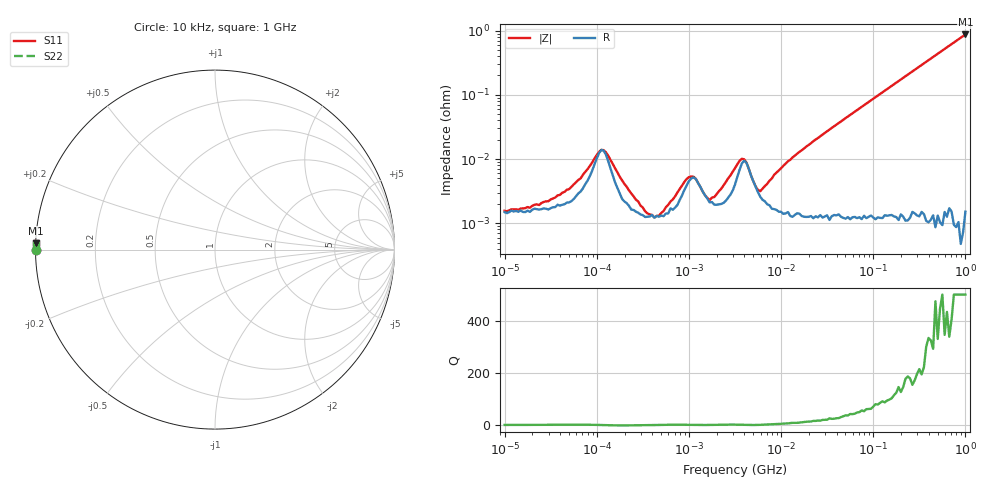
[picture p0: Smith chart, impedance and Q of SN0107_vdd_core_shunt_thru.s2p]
! VALBRD-A rev C SN0107  rail VDD_CORE_0V9  2-port shunt-thru, VRM on, DC blocks on both ports
! SYNTHETIC data for HWLAB-M03 (gen_vna.py seed=107) - C10u_0603 3 of 5 not populated (feeder empty)
! IFBW 100 Hz, log sweep 10 kHz - 1 GHz, 201 points
# Hz S DB R 50
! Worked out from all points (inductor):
!   201 points, 10 kHz to 1 GHz, reference 50 ohm
!   read as one part in shunt: L = 7.27 nH near 10.59 kHz
!   highest |Z| = 869 mohm at 1 GHz (marker M1)
!   self-resonance near 114.1 kHz
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10000  -0.00 180.0  -84.07 17.7  -84.07 17.7  -0.00 180.0
35481.34  -0.00 180.0  -79.94 44.8  -79.94 44.8  -0.00 180.0
70794.58  -0.00 180.0  -72.88 52.0  -72.88 52.0  -0.00 180.0
105925.4  -0.00 180.0  -65.71 17.4  -65.71 17.4  -0.00 180.0
118850.2  -0.00 -180.0  -65.19 -10.4  -65.19 -10.4  -0.00 -180.0
251188.6  -0.00 -180.0  -79.58 -52.1  -79.58 -52.1  -0.00 -180.0
473151.3  -0.00 180.0  -85.59 16.2  -85.59 16.2  -0.00 180.0
707945.8  -0.00 180.0  -79.58 48.0  -79.58 48.0  -0.00 180.0
944060.9  -0.00 180.0  -74.18 37.4  -74.18 37.4  -0.00 180.0
1059254  -0.00 180.0  -73.40 21.6  -73.40 21.6  -0.00 180.0
1188502  -0.00 180.0  -74.11 5.2  -74.11 5.2  -0.00 180.0
1584893  -0.00 180.0  -80.04 13.9  -80.04 13.9  -0.00 180.0
1883649  -0.00 180.0  -79.78 40.5  -79.78 40.5  -0.00 180.0
3162278  -0.00 180.0  -70.82 56.3  -70.82 56.3  -0.00 180.0
3548134  -0.00 180.0  -68.51 43.2  -68.51 43.2  -0.00 180.0
3981072  -0.00 180.0  -68.06 18.2  -68.06 18.2  -0.00 180.0
5308844  -0.00 180.0  -76.53 10.4  -76.53 10.4  -0.00 180.0
5956621  -0.00 180.0  -77.97 35.5  -77.97 35.5  -0.00 180.0
1.188502e7  -0.00 180.0  -68.66 80.7  -68.66 80.7  -0.00 180.0
2.238721e7  -0.00 180.0  -62.42 86.3  -62.42 86.3  -0.00 180.0
1.496236e8  -0.00 179.7  -45.68 89.1  -45.68 89.1  -0.00 179.7
1e9  -0.01 178.0  -29.18 87.9  -29.18 87.9  -0.01 178.0
